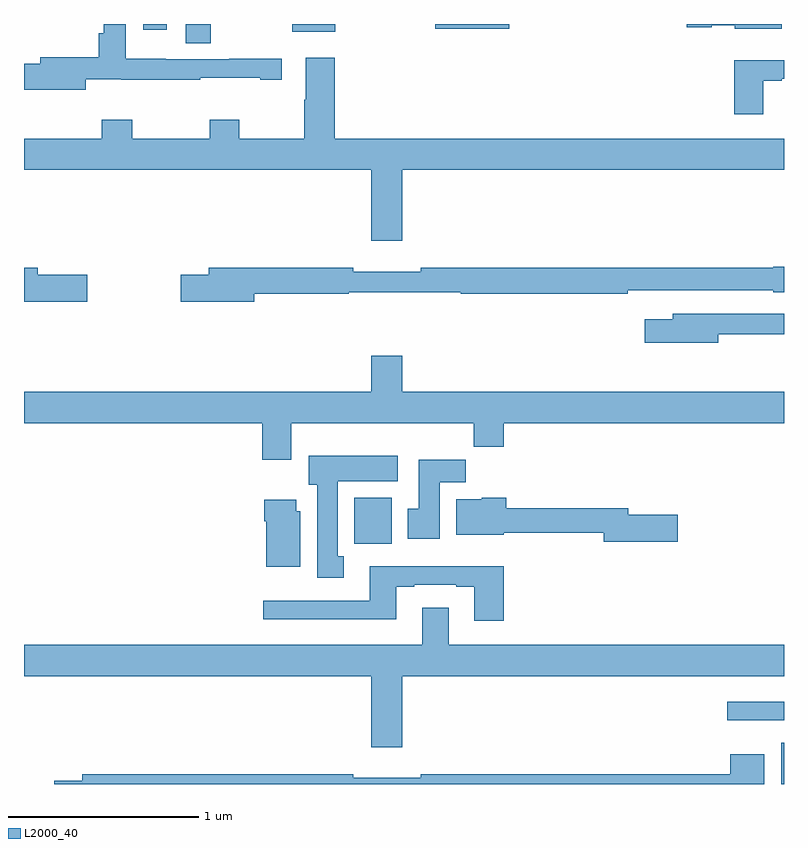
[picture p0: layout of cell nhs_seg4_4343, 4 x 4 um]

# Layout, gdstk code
import gdstk
lib = gdstk.Library(unit=1e-6, precision=1e-09)
def R(c, l, rs):  # rectangles x0, y0, x1, y1
    for r in rs: c.add(gdstk.rectangle(r[:2], r[2:], *l))
def P(c, l, *ps):  # polygons
    for p in ps: c.add(gdstk.Polygon(p, *l))
L2000_40 = (2000, 40)

nhs_seg4_4343 = lib.new_cell('nhs_seg4_4343')
R(nhs_seg4_4343, L2000_40, [(346.985,814.9,347,815.116), (346.701,815.235,347,815.332), (344.738,816.164,344.935,816.406), (343.85,818.8,343.984,818.9), (344.411,818.858,344.638,818.9), (343.628,818.871,343.75,818.9), (345.164,818.876,345.553,818.9), (344.072,818.898,344.233,818.9)])
P(nhs_seg4_4343, L2000_40, [(343.324,818.609),(343.512,818.609),(343.512,818.607),(343.928,818.607),(343.928,818.617),(344.243,818.617),(344.243,818.607),(344.356,818.607),(344.356,818.717),(344.08,818.717),(344.08,818.715),(343.746,818.715),(343.746,818.716),(343.536,818.716),(343.536,818.9),(343.42,818.9),(343.42,818.851),(343.394,818.851),(343.394,818.726),(343.085,818.726),(343.085,818.69),(343,818.69),(343,818.555),(343.324,818.555)],
  [(346.987,818.9),(346.488,818.9),(346.488,818.882),(346.62,818.882),(346.62,818.894),(346.74,818.894),(346.74,818.876),(346.987,818.876)],
  [(344.992,818.132),(347,818.132),(347,818.296),(344.636,818.296),(344.636,818.722),(344.483,818.722),(344.483,818.501),(344.476,818.501),(344.476,818.296),(344.133,818.296),(344.133,818.395),(343.978,818.395),(343.978,818.296),(343.569,818.296),(343.569,818.395),(343.409,818.395),(343.409,818.296),(343,818.296),(343,818.132),(344.828,818.132),(344.828,817.758),(344.992,817.758)],
  [(346.891,818.601),(346.987,818.601),(346.987,818.613),(347,818.613),(347,818.71),(346.739,818.71),(346.739,818.424),(346.891,818.424)],
  [(344.212,817.48),(344.708,817.48),(344.708,817.488),(345.298,817.488),(345.298,817.48),(346.178,817.48),(346.178,817.5),(346.944,817.5),(346.944,817.487),(347,817.487),(347,817.622),(346.944,817.622),(346.944,817.616),(345.088,817.616),(345.088,817.597),(344.732,817.597),(344.732,817.616),(343.973,817.616),(343.973,817.58),(343.824,817.58),(343.824,817.438),(344.212,817.438)],
  [(343.333,817.58),(343.072,817.58),(343.072,817.616),(343,817.616),(343,817.438),(343.333,817.438)],
  [(346.654,817.266),(347,817.266),(347,817.374),(346.415,817.374),(346.415,817.345),(346.266,817.345),(346.266,817.223),(346.654,817.223)],
  [(344.407,816.8),(345.367,816.8),(345.367,816.676),(345.524,816.676),(345.524,816.8),(347,816.8),(347,816.964),(344.992,816.964),(344.992,817.153),(344.828,817.153),(344.828,816.964),(343,816.964),(343,816.8),(344.255,816.8),(344.255,816.606),(344.407,816.606)],
  [(344.683,816.098),(344.65,816.098),(344.65,816.494),(344.968,816.494),(344.968,816.628),(344.498,816.628),(344.498,816.474),(344.543,816.474),(344.543,815.985),(344.683,815.985)],
  [(345.187,816.488),(345.326,816.488),(345.326,816.607),(345.077,816.607),(345.077,816.348),(345.02,816.348),(345.02,816.192),(345.187,816.192)],
  [(346.441,816.318),(346.18,816.318),(346.18,816.352),(345.539,816.352),(345.539,816.406),(345.408,816.406),(345.408,816.4),(345.275,816.4),(345.275,816.212),(345.526,816.212),(345.526,816.223),(346.052,816.223),(346.052,816.176),(346.441,816.176)],
  [(344.455,816.336),(344.434,816.336),(344.434,816.397),(344.264,816.397),(344.264,816.284),(344.276,816.284),(344.276,816.044),(344.455,816.044)],
  [(345.524,816.046),(344.819,816.046),(344.819,815.865),(344.259,815.865),(344.259,815.768),(344.959,815.768),(344.959,815.937),(345.055,815.937),(345.055,815.949),(345.275,815.949),(345.275,815.937),(345.371,815.937),(345.371,815.76),(345.524,815.76)],
  [(344.992,815.468),(347,815.468),(347,815.632),(345.235,815.632),(345.235,815.827),(345.095,815.827),(345.095,815.632),(343,815.632),(343,815.468),(344.828,815.468),(344.828,815.094),(344.992,815.094)],
  [(346.897,815.056),(346.718,815.056),(346.718,814.952),(345.088,814.952),(345.088,814.933),(344.732,814.933),(344.732,814.952),(343.307,814.952),(343.307,814.916),(343.158,814.916),(343.158,814.9),(346.897,814.9)])

lib.write_gds('nhs_seg4_4343.gds')
